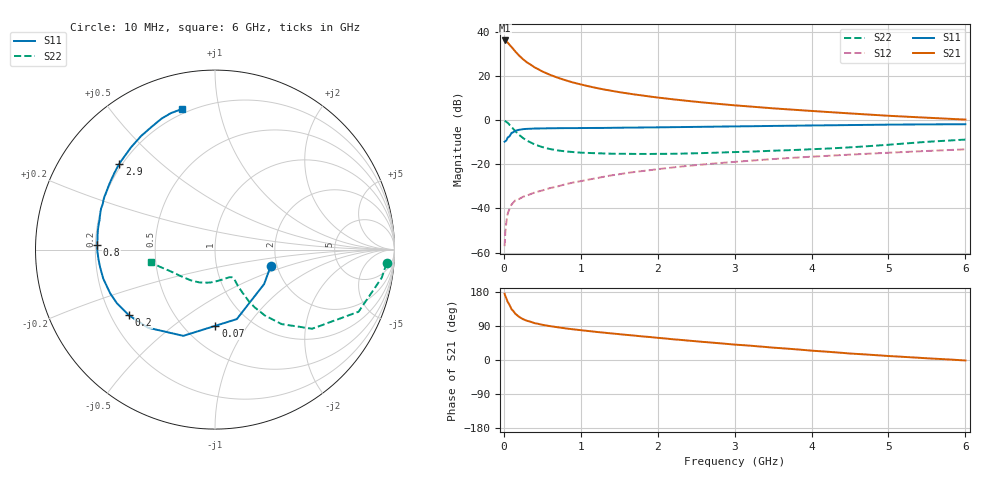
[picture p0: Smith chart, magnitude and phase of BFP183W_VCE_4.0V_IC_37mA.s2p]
! Infineon Technologies  Discrete & RF Semiconductors
! BFP183W
! VCE =  4.0 V,  IC =  37 mA
! Common Emitter S-Parameters:  Jan 2017
# GHz  S  MA  R  50
!  f  S11  S21  S12  S22
! GHz  MAG  ANG  MAG  ANG  MAG  ANG  MAG  ANG
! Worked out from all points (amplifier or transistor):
!   77 points, 10 MHz to 6 GHz, reference 50 ohm
!   highest |S21| = 36.0 dB at 10 MHz (marker M1)
!   |S21| within 3 dB of that: start of sweep to 101.4 MHz
!   unconditionally stable (mu >= 1): 818 MHz to 3.357 GHz
!   at 130 MHz: K = 0.36, MSG = 34.5 dB, |S12| = -37.1 dB
!   at 2.2 GHz: K = 1.06, MAG = 13.9 dB, |S12| = -21.4 dB
!   at 6 GHz: K = 0.86, MSG = 6.7 dB, |S12| = -13.3 dB
!   S11 on the Smith chart (normalised r, x): 10 MHz: 1.85, -0.38; 70 MHz: 0.70, -0.72; 200 MHz: 0.27, -0.32; 800 MHz: 0.21, +0.02; 2.9 GHz: 0.19, +0.37; 6 GHz: 0.17, +0.77
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0.01  0.3236 -16.5  63.32 174.9  0.0014 92.3  0.9597 -4.5
0.02  0.3343 -35.0  62.47 168.6  0.0031 97.0  0.9419 -9.6
0.05  0.4059 -72.6  56.79 153.3  0.0076 66.6  0.8716 -23.4
0.07  0.4246 -89.7  51.46 146.6  0.0094 62.0  0.7952 -28.9
0.1  0.5119 -110.2  45.13 134.0  0.0122 57.7  0.6978 -39.2
0.15  0.5733 -130.6  35.5 121.9  0.0153 51.7  0.5566 -48.2
0.2  0.6032 -142.6  28.61 113.6  0.0164 51.0  0.4601 -52.9
0.25  0.6228 -151.3  23.8 107.7  0.0184 49.4  0.391 -55.5
0.3  0.6328 -157.3  20.23 103.5  0.0196 49.4  0.342 -56.8
0.4  0.6432 -165.4  15.58 97.3  0.0229 52.2  0.2804 -57.5
0.5  0.6474 -171.0  12.6 92.9  0.0255 54.4  0.2447 -57.7
0.6  0.6516 -175.4  10.58 89.4  0.0289 56.7  0.2208 -57.5
0.7  0.655 -178.9  9.081 86.4  0.0315 59.7  0.2053 -57.1
0.8  0.6573 177.9  7.974 83.5  0.0353 61.5  0.196 -57.3
1.1  0.6614 170.3  5.826 76.5  0.0449 63.0  0.1803 -59.1
1.5  0.6711 162.0  4.285 68.2  0.0594 64.3  0.1724 -64.2
2.1  0.6873 150.9  3.089 56.7  0.081 63.0  0.1721 -77.5
2.9  0.7155 138.1  2.233 42.5  0.1096 59.3  0.1861 -99.7
3.1  0.7217 135.2  2.09 39.3  0.1166 58.1  0.1906 -105.2
4.1  0.7576 121.8  1.567 23.3  0.1515 51.7  0.2224 -131.7
5.1  0.79 111.3  1.225 9.4  0.1856 45.1  0.285 -156.1
6  0.8043 103.4  1.024 -1.2  0.2175 38.7  0.3617 -168.6
